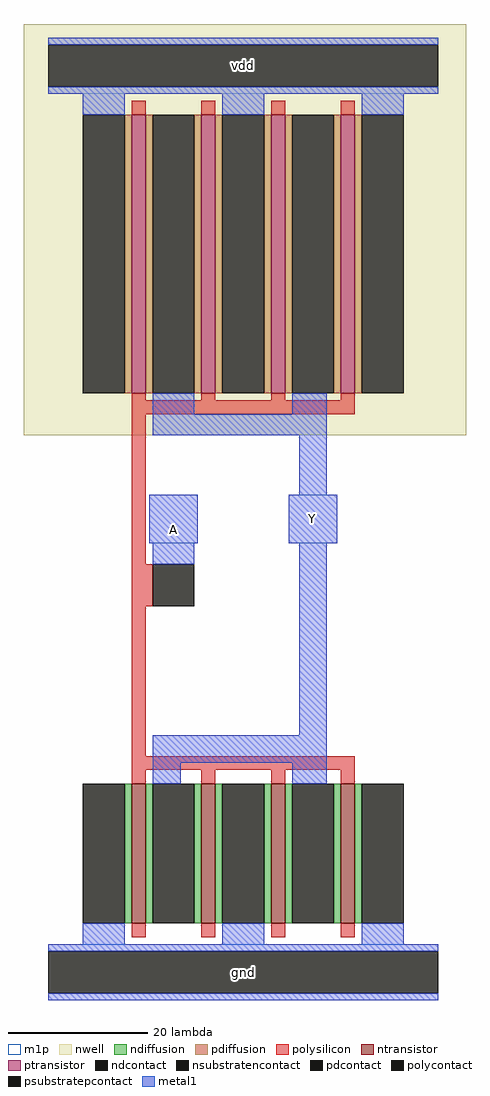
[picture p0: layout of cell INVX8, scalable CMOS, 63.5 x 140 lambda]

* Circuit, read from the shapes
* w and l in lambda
.subckt INVX8 A Y vdd gnd
M1 Y A gnd gnd nfet w=20 l=2 m=4
M2 Y A vdd vdd pfet w=40 l=2 m=4
.ends

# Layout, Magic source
magic
tech scmos
magscale 1 2
<< nwell >>
rect -13 154 114 272
<< ntransistor >>
rect 18 14 22 54
rect 38 14 42 54
rect 58 14 62 54
rect 78 14 82 54
<< ptransistor >>
rect 18 166 22 246
rect 38 166 42 246
rect 58 166 62 246
rect 78 166 82 246
<< ndiffusion >>
rect 16 14 18 54
rect 22 14 24 54
rect 36 14 38 54
rect 42 14 44 54
rect 56 14 58 54
rect 62 14 64 54
rect 76 14 78 54
rect 82 14 84 54
<< pdiffusion >>
rect 16 166 18 246
rect 22 166 24 246
rect 36 166 38 246
rect 42 166 44 246
rect 56 166 58 246
rect 62 166 64 246
rect 76 166 78 246
rect 82 166 84 246
<< ndcontact >>
rect 4 14 16 54
rect 24 14 36 54
rect 44 14 56 54
rect 64 14 76 54
rect 84 14 96 54
<< pdcontact >>
rect 4 166 16 246
rect 24 166 36 246
rect 44 166 56 246
rect 64 166 76 246
rect 84 166 96 246
<< psubstratepcontact >>
rect -6 -6 106 6
<< nsubstratencontact >>
rect -6 254 106 266
<< polysilicon >>
rect 18 246 22 250
rect 38 246 42 250
rect 58 246 62 250
rect 78 246 82 250
rect 18 164 22 166
rect 38 164 42 166
rect 58 164 62 166
rect 78 164 82 166
rect 18 160 82 164
rect 18 117 22 160
rect 18 105 24 117
rect 18 62 22 105
rect 18 58 82 62
rect 18 54 22 58
rect 38 54 42 58
rect 58 54 62 58
rect 78 54 82 58
rect 18 10 22 14
rect 38 10 42 14
rect 58 10 62 14
rect 78 10 82 14
<< polycontact >>
rect 24 105 36 117
<< metal1 >>
rect -6 266 106 268
rect -6 252 106 254
rect 4 246 16 252
rect 44 246 56 252
rect 84 246 96 252
rect 24 160 36 166
rect 64 160 74 166
rect 24 154 74 160
rect 66 137 74 154
rect 23 123 37 137
rect 63 123 77 137
rect 24 117 36 123
rect 66 68 74 123
rect 24 60 74 68
rect 24 54 32 60
rect 64 54 74 60
rect 4 8 16 14
rect 44 8 56 14
rect 84 8 96 14
rect -6 6 106 8
rect -6 -8 106 -6
<< m1p >>
rect -6 252 106 268
rect 23 123 37 137
rect 63 123 77 137
rect -6 -8 106 8
<< labels >>
rlabel nsubstratencontact 50 260 50 260 0 vdd
port 3 nsew power bidirectional abutment
rlabel psubstratepcontact 50 0 50 0 0 gnd
port 4 nsew ground bidirectional abutment
rlabel metal1 70 130 70 130 0 Y
port 2 nsew signal output
rlabel metal1 30 127 30 127 0 A
port 1 nsew signal input
<< properties >>
string FIXED_BBOX 0 0 100 260
string LEFclass CORE
string LEFsite core
string LEFsymmetry X Y
<< end >>
